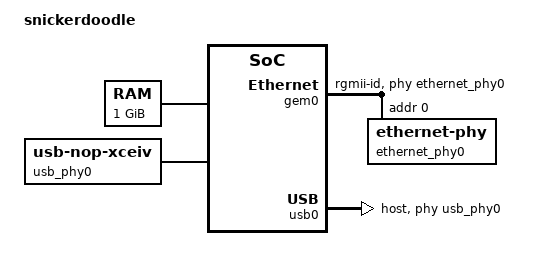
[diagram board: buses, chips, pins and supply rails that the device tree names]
/**
 * Copyright (c) 2016 krtkl inc.
 *
 * snickerdoodle piSmasher device tree source
 *
 * This program is free software; you can redistribute it and/or modify it
 * under the terms of the GNU General Public License version 2 as published by
 * the Free Software Foundation.
 */

/dts-v1/;
/include/ "snickerdoodle.dtsi"

/ {
	model = "snickerdoodle";

	memory@0 {
		device_type = "memory";
		reg = <0x0 0x40000000>;
	};

        usb_phy0: phy0 {
                compatible = "usb-nop-xceiv";
                #phy-cells = <0>;
        };
};

&gem0 {
	status =	"okay";
	phy-mode =	"rgmii-id";
	phy-handle =	<&ethernet_phy0>;

	ethernet_phy0: ethernet-phy@0 {
		reg = <0x0>;
	};
};


&usb0 {
	status = "okay";
	dr_mode = "host";
	usb-phy = <&usb_phy0>;
};
